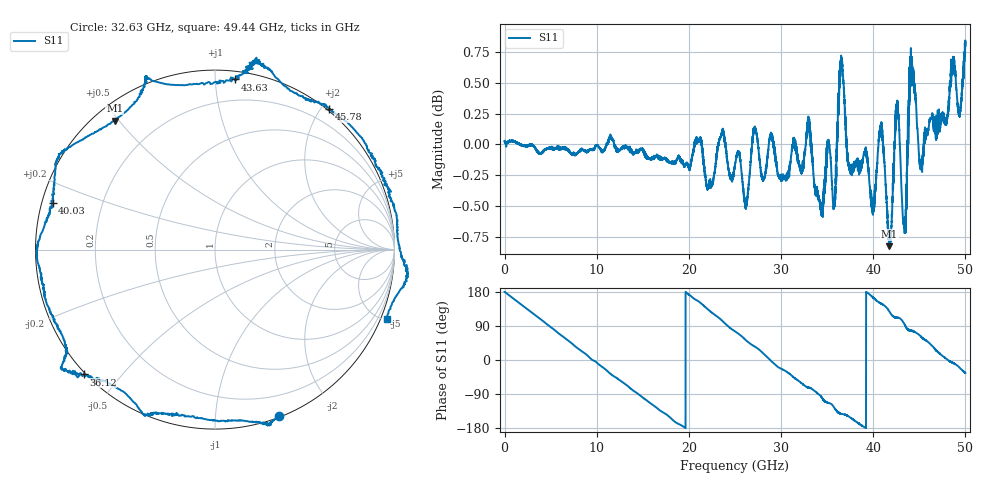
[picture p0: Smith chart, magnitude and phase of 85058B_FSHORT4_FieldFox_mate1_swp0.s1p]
!Created with skrf (http://scikit-rf.org).
# Hz S RI R 50.0
!freq ReS11 ImS11
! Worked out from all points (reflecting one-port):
!   10000 points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, 5.3 MHz to 50 GHz, reference 50 ohm
!   lowest |S11| = -0.8 dB at 41.76 GHz (marker M1), VSWR 21.16, Z = 2.93 + j24.4 ohm
!   phase of S11 starts at 180 deg and turns -934 deg over the sweep
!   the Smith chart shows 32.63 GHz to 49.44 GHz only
!   S11 on the Smith chart (normalised r, x): 32.63 GHz: 0.01, -1.46; 36.12 GHz: -0.01, -0.40; 40.03 GHz: 0.03, +0.14; 43.63 GHz: 0.05, +1.12; 45.78 GHz: -0.03, +2.10; 49.44 GHz: -0.43, -5.10
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5299970  -1.003 0.00223
1.550291e9  -0.877 0.4828
3.34528e9  -0.4673 0.8805
6.255262e9  0.4489 0.8899
9.405244e9  0.9951 0.0367
1.250522e10  0.5925 -0.7991
1.531521e10  -0.2501 -0.9557
1.875519e10  -0.9626 -0.2183
2.128017e10  -0.8736 0.496
2.351016e10  -0.2756 0.9706
2.500515e10  0.2464 0.9503
2.725514e10  0.8427 0.563
2.870013e10  1.001 0.0479
3.125511e10  0.7245 -0.6854
3.26251e10  0.3572 -0.9296
3.516009e10  -0.3959 -0.919
3.612008e10  -0.7324 -0.6958
3.750507e10  -0.8594 -0.4642
4.002506e10  -0.9051 0.2606
4.101005e10  -0.8388 0.5508
4.175505e10  -0.5584 0.7182
4.293004e10  -0.3277 0.9353
4.363004e10  0.1104 0.9477
4.375504e10  0.1536 0.9935
4.578003e10  0.6372 0.7831
4.743002e10  1.003 0.2178
4.944e10  0.9571 -0.3871
5e10  0.9092 -0.6188
